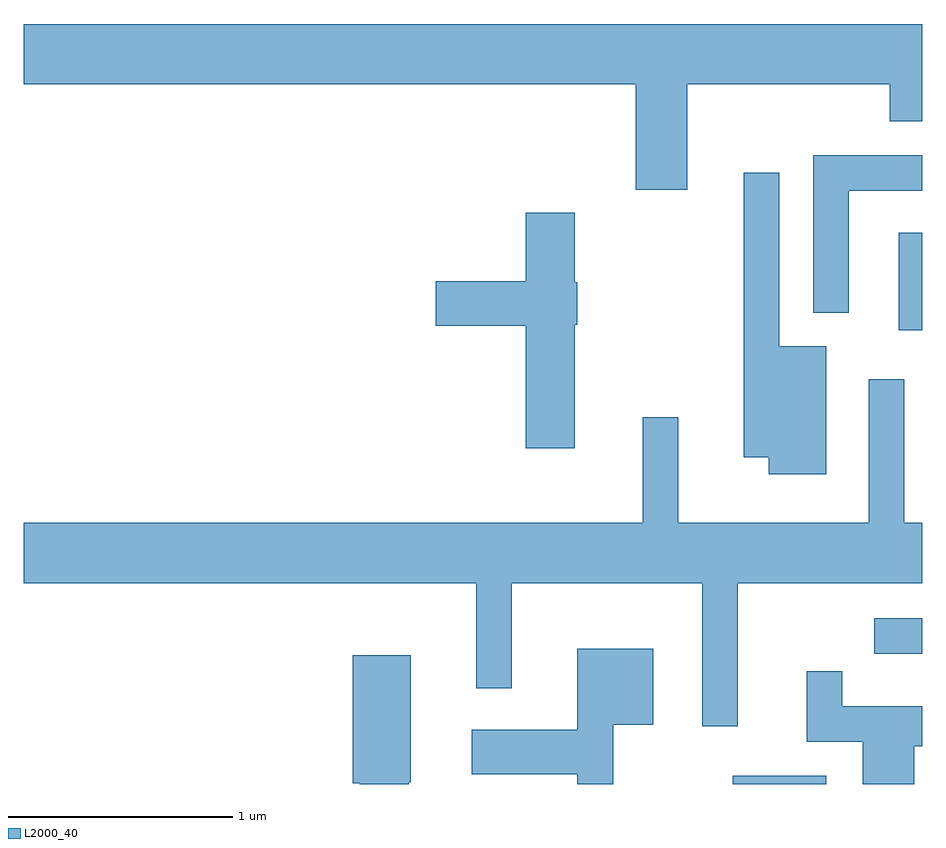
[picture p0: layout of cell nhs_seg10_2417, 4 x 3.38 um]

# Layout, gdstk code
import gdstk
lib = gdstk.Library(unit=1e-6, precision=1e-09)
def R(c, l, rs):  # rectangles x0, y0, x1, y1
    for r in rs: c.add(gdstk.rectangle(r[:2], r[2:], *l))
def P(c, l, *ps):  # polygons
    for p in ps: c.add(gdstk.Polygon(p, *l))
L2000_40 = (2000, 40)

nhs_seg10_2417 = lib.new_cell('nhs_seg10_2417')
R(nhs_seg10_2417, L2000_40, [(258.766,2168.522,259.184,2168.559), (259.397,2169.101,259.611,2169.259), (259.506,2170.541,259.611,2170.974)])
P(nhs_seg10_2417, L2000_40, [(258.564,2171.636),(259.466,2171.636),(259.466,2171.471),(259.611,2171.471),(259.611,2171.904),(255.611,2171.904),(255.611,2171.636),(258.336,2171.636),(258.336,2171.166),(258.564,2171.166)],
  [(259.284,2171.161),(259.611,2171.161),(259.611,2171.319),(259.126,2171.319),(259.126,2170.618),(259.284,2170.618)],
  [(259.184,2170.469),(258.974,2170.469),(258.974,2171.243),(258.816,2171.243),(258.816,2169.976),(258.926,2169.976),(258.926,2169.901),(259.184,2169.901)],
  [(258.064,2170.565),(258.074,2170.565),(258.074,2170.755),(258.064,2170.755),(258.064,2171.064),(257.846,2171.064),(257.846,2170.759),(257.446,2170.759),(257.446,2170.561),(257.846,2170.561),(257.846,2170.016),(258.064,2170.016)],
  [(259.611,2169.684),(259.529,2169.684),(259.529,2170.323),(259.371,2170.323),(259.371,2169.684),(258.524,2169.684),(258.524,2170.153),(258.366,2170.153),(258.366,2169.684),(255.611,2169.684),(255.611,2169.416),(257.626,2169.416),(257.626,2168.948),(257.784,2168.948),(257.784,2169.416),(258.631,2169.416),(258.631,2168.778),(258.789,2168.778),(258.789,2169.416),(259.611,2169.416)],
  [(258.234,2168.786),(258.414,2168.786),(258.414,2169.124),(258.076,2169.124),(258.076,2168.764),(257.606,2168.764),(257.606,2168.566),(258.076,2168.566),(258.076,2168.522),(258.234,2168.522)],
  [(257.324,2168.53),(257.334,2168.53),(257.334,2169.094),(257.076,2169.094),(257.076,2168.526),(257.106,2168.526),(257.106,2168.522),(257.324,2168.522)],
  [(259.574,2168.691),(259.611,2168.691),(259.611,2168.869),(259.254,2168.869),(259.254,2169.023),(259.096,2169.023),(259.096,2168.711),(259.346,2168.711),(259.346,2168.522),(259.574,2168.522)])

lib.write_gds('nhs_seg10_2417.gds')
